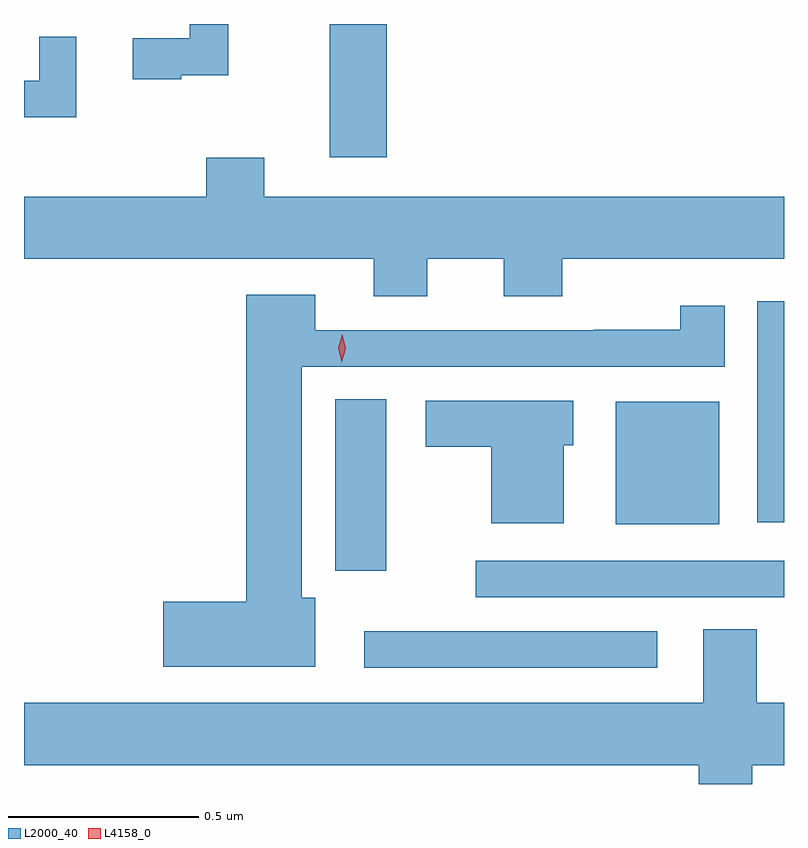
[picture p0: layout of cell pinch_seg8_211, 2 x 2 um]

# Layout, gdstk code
import gdstk
lib = gdstk.Library(unit=1e-6, precision=1e-09)
def R(c, l, rs):  # rectangles x0, y0, x1, y1
    for r in rs: c.add(gdstk.rectangle(r[:2], r[2:], *l))
def P(c, l, *ps):  # polygons
    for p in ps: c.add(gdstk.Polygon(p, *l))
L2000_40 = (2000, 40)
L4158_0 = (4158, 0)

pinch_seg8_211 = lib.new_cell('pinch_seg8_211')
R(pinch_seg8_211, L2000_40, [(677.37,1104.768,678.142,1104.864), (677.664,1104.954,678.475,1105.05), (677.294,1105.023,677.428,1105.475), (678.032,1105.145,678.304,1105.468), (678.404,1105.151,678.475,1105.732), (677.279,1106.112,677.429,1106.462)])
P(pinch_seg8_211, L2000_40, [(676.889,1106.327),(677.012,1106.327),(677.012,1106.462),(676.911,1106.462),(676.911,1106.424),(676.761,1106.424),(676.761,1106.316),(676.889,1106.316)],
  [(676.612,1106.428),(676.515,1106.428),(676.515,1106.313),(676.475,1106.313),(676.475,1106.217),(676.612,1106.217)],
  [(677.536,1105.844),(677.738,1105.844),(677.738,1105.745),(677.891,1105.745),(677.891,1105.844),(678.475,1105.844),(678.475,1106.008),(677.107,1106.008),(677.107,1106.11),(676.955,1106.11),(676.955,1106.008),(676.475,1106.008),(676.475,1105.844),(677.396,1105.844),(677.396,1105.745),(677.536,1105.745)],
  [(677.242,1104.952),(677.206,1104.952),(677.206,1105.56),(678.319,1105.56),(678.319,1105.72),(678.202,1105.72),(678.202,1105.658),(677.974,1105.658),(677.974,1105.656),(677.242,1105.656),(677.242,1105.75),(677.06,1105.75),(677.06,1104.941),(676.842,1104.941),(676.842,1104.77),(677.242,1104.77)],
  [(677.896,1105.353),(677.92,1105.353),(677.92,1105.471),(677.532,1105.471),(677.532,1105.349),(677.705,1105.349),(677.705,1105.148),(677.896,1105.148)],
  [(678.391,1104.512),(678.475,1104.512),(678.475,1104.676),(678.403,1104.676),(678.403,1104.869),(678.263,1104.869),(678.263,1104.676),(676.475,1104.676),(676.475,1104.512),(678.251,1104.512),(678.251,1104.462),(678.391,1104.462)])
P(pinch_seg8_211, L4158_0, [(677.311,1105.572),(677.311,1105.573),(677.302,1105.609),(677.312,1105.645),(677.313,1105.645),(677.313,1105.645),(677.322,1105.608),(677.311,1105.573)])

lib.write_gds('pinch_seg8_211.gds')
